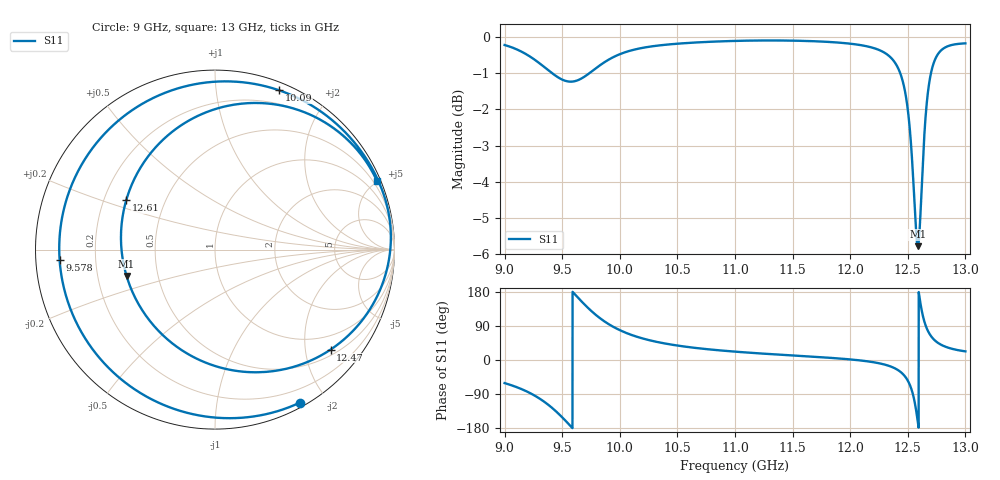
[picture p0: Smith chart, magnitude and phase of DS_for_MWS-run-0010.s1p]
! TOUCHSTONE file generated by CST DESIGN STUDIO
! Date and time: Tue Feb  4 18:45:18 2025
! Project name: C:\Work\MatlabApps\UnitCellOptimizationMatlab\CST\unitcell.cst
! Tree item: Tasks\Sweep1\SPara1\S-Parameters
! Header version: 2024
! Port assignment regex: !\s*Touchstone port\s*([0-9]+)\s*=\s*(CST MWS port|CST DES external port|CST DES block port)\s*(.+)\s* \(\"(.*)\"\)(\s*mode\s*([0-9]+))?.*
! Touchstone port assignment:
! Touchstone port 1 = CST DES external port 1 ("")
# GHz S MA R 50
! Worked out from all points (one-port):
!   4001 points, 9 GHz to 13 GHz, reference 50 ohm
!   lowest |S11| = -5.8 dB at 12.59 GHz (marker M1), VSWR 3.12, Z = 16.3 - j6.54 ohm
!   |S11| at or under -10 dB: nowhere
!   S11 on the Smith chart (normalised r, x): 9 GHz: 0.05, -1.70; 9.578 GHz: 0.07, -0.03; 10.09 GHz: 0.07, +1.48; 12.47 GHz: 0.63, -2.55; 12.61 GHz: 0.29, +0.24; 13 GHz: 0.26, +4.95
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9  0.9749 -60.9
9.15  0.9539 -77.2
9.301  0.9204 -101.3
9.403  0.8937 -124.0
9.5  0.8733 -151.2
9.578  0.8676 -176.2
9.669  0.8768 154.2
9.782  0.9028 121.5
9.879  0.9256 99.4
10  0.9468 78.8
10.085  0.9569 68.0
10.267  0.9702 51.5
10.5  0.979 38.1
11  0.9877 22.1
11.5  0.9885 12.0
12  0.979 1.5
12.334  0.9425 -15.2
12.469  0.8518 -40.8
12.5  0.7938 -54.5
12.548  0.632 -94.7
12.587  0.5142 -163.4
12.609  0.566 150.9
12.634  0.6881 112.5
12.66  0.7956 86.9
12.7  0.8898 63.7
12.746  0.9379 48.8
12.841  0.9703 33.5
13  0.98 22.8
